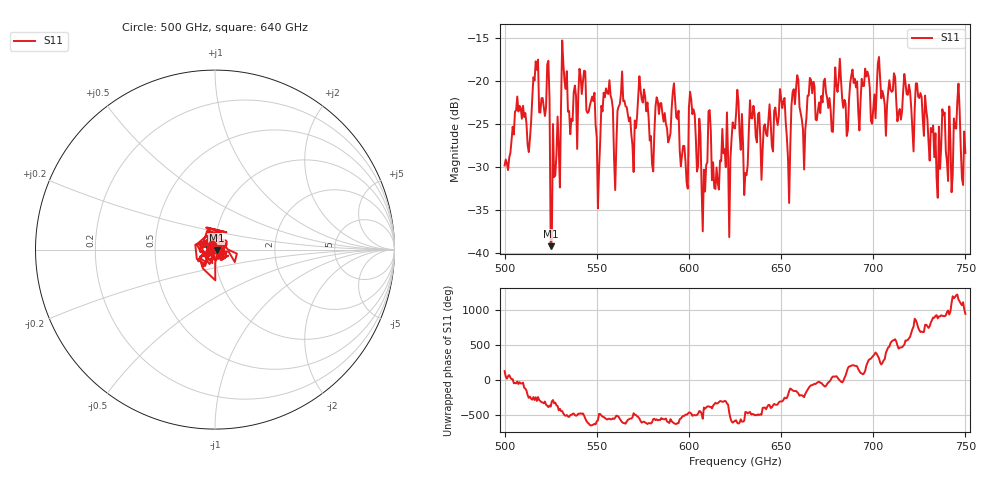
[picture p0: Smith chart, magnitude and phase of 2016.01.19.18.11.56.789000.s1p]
!Created with skrf (http://scikit-rf.org).
# GHz S RI R 50.0
!freq ReS11 ImS11
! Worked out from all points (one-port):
!   401 points, 500 GHz to 750 GHz, reference 50 ohm
!   lowest |S11| = -39.3 dB at 525 GHz (marker M1), VSWR 1.02, Z = 51 - j0.468 ohm
!   |S11| at or under -10 dB: start of sweep to end of sweep
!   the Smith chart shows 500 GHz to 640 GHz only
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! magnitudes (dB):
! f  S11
! 500 GHz  -29.9
! 506.9 GHz  -21.9
! 513.1 GHz  -28.3
! 516.9 GHz  -17.8
! 523.1 GHz  -18.1
! 525 GHz  -39.3
! 526.2 GHz  -25.1
! 531.2 GHz  -15.3
! 542.5 GHz  -20.1
! 550.6 GHz  -34.9
! 553.8 GHz  -21.4
! 560 GHz  -32.7
! 562.5 GHz  -22.8
! 593.8 GHz  -24.5
! 598.1 GHz  -29.4
! 601.9 GHz  -23.9
! 608.1 GHz  -30.4
! 610.6 GHz  -23.6
! 615 GHz  -30.1
! 625 GHz  -25.6
! 630.6 GHz  -30.8
! 634.4 GHz  -24.4
! 650.6 GHz  -23.2
! 653.8 GHz  -29.0
! 656.2 GHz  -21.4
! 687.5 GHz  -20.3
! 718.8 GHz  -21.7
! 750 GHz  -28.4
